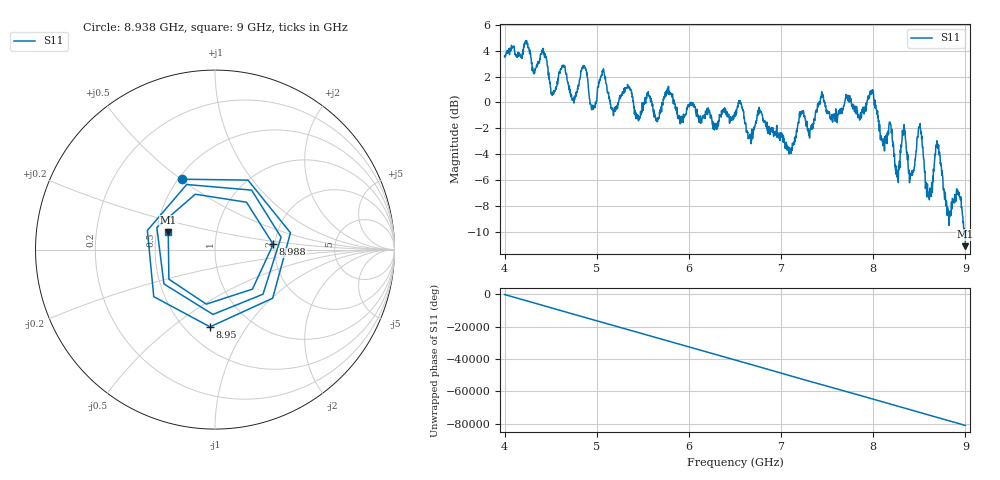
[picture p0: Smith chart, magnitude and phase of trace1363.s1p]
! Created with skrf 1.8.0 (http://scikit-rf.org).
# Hz S RI R 50.0
!freq ReS11 ImS11
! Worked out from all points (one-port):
!   1601 points, 4 GHz to 9 GHz, reference 50 ohm
!   lowest |S11| = -11.1 dB at 9 GHz (marker M1), VSWR 1.77, Z = 28.9 + j6.06 ohm
!   |S11| at or under -10 dB: 8.989241 GHz to end of sweep
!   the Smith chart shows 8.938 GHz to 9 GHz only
!   S11 on the Smith chart (normalised r, x): 8.938 GHz: 0.52, +0.50; 8.95 GHz: 0.66, -0.69; 8.988 GHz: 1.95, +0.13; 9 GHz: 0.58, +0.12
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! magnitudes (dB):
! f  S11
! 4 GHz  3.6
! 4.422 GHz  3.9
! 4.525 GHz  0.7
! 4.625 GHz  2.9
! 4.741 GHz  0.3
! 4.859 GHz  2.7
! 4.953 GHz  -0.2
! 5.062 GHz  2.4
! 5.25 GHz  0.4
! 5.875 GHz  -0.8
! 6.5 GHz  -1.1
! 7.125 GHz  -3.2
! 7.222 GHz  -0.7
! 7.75 GHz  0.1
! 7.984 GHz  0.8
! 8.194 GHz  -2.1
! 8.256 GHz  -5.6
! 8.328 GHz  -2.5
! 8.375 GHz  -4.0
! 8.419 GHz  -5.3
! 8.503 GHz  -1.9
! 8.591 GHz  -6.9
! 8.697 GHz  -3.2
! 8.812 GHz  -8.3
! 8.938 GHz  -7.3
! 8.95 GHz  -7.3
! 8.988 GHz  -9.7
! 9 GHz  -11.1
